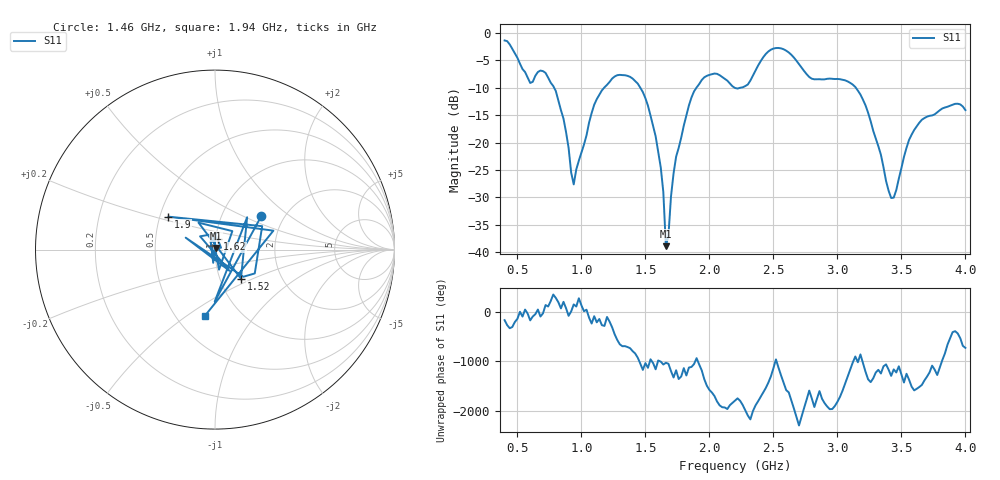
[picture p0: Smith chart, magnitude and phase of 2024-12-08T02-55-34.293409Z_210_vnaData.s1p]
!Created with skrf (http://scikit-rf.org).
# Hz S RI R 50.0
!freq ReS11 ImS11
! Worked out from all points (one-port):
!   181 points, 400 MHz to 4 GHz, reference 50 ohm
!   lowest |S11| = -38.9 dB at 1.66 GHz (marker M1), VSWR 1.02, Z = 50.7 + j0.903 ohm
!   |S11| at or under -10 dB: 787.2 MHz to 1.177 GHz (389.9 MHz wide, 39.7 % of centre); 1.461 GHz to 1.898 GHz (437.6 MHz wide, 26.1 % of centre); 3.145 GHz to end of sweep (the widest 3 of 4)
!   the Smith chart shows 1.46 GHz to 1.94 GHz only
!   S11 on the Smith chart (normalised r, x): 1.46 GHz: 1.53, +0.63; 1.52 GHz: 1.26, -0.43; 1.62 GHz: 1.02, +0.12; 1.9 GHz: 0.55, +0.23; 1.94 GHz: 0.69, -0.59
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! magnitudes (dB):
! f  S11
! 400 MHz  -1.3
! 600 MHz  -9.1
! 720 MHz  -7.3
! 860 MHz  -15.6
! 940 MHz  -27.6
! 1.1 GHz  -13.1
! 1.3 GHz  -7.6
! 1.46 GHz  -10.0
! 1.52 GHz  -13.3
! 1.62 GHz  -24.6
! 1.64 GHz  -29.0
! 1.66 GHz  -38.9
! 1.68 GHz  -37.0
! 1.72 GHz  -25.6
! 1.76 GHz  -21.0
! 1.9 GHz  -9.9
! 1.94 GHz  -8.6
! 2.2 GHz  -10.0
! 2.3 GHz  -9.4
! 2.48 GHz  -3.0
! 2.66 GHz  -4.5
! 2.8 GHz  -8.3
! 3.1 GHz  -9.1
! 3.22 GHz  -13.2
! 3.42 GHz  -30.1
! 3.56 GHz  -19.5
! 3.82 GHz  -13.8
! 4 GHz  -14.1
